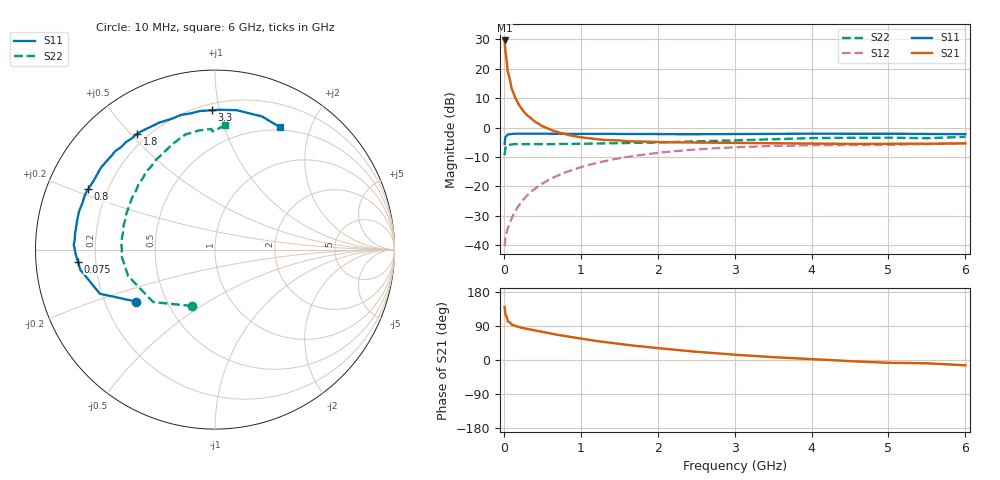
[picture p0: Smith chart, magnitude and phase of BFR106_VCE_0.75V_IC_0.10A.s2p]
! Infineon Technologies  Discrete & RF Semiconductors
! BFR106
! VCE = 0.75 V,  IC = 0.10 A
! Common Emitter S-Parameters:  Nov 2015
# GHz  S  MA  R  50
!  f  S11  S21  S12  S22
! GHz  MAG  ANG  MAG  ANG  MAG  ANG  MAG  ANG
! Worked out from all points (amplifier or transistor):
!   210 points, 10 MHz to 6 GHz, reference 50 ohm
!   highest |S21| = 29.6 dB at 10 MHz (marker M1)
!   |S21| within 3 dB of that: start of sweep to 18.54 MHz
!   unconditionally stable (mu >= 1): start of sweep to 19.02 MHz; 24.72 MHz to end of sweep
!   at 185 MHz: K = 1.62, MAG = 13.0 dB, |S12| = -26.9 dB
!   at 1.52 GHz: K = 1.28, MAG = -0.2 dB, |S12| = -10.4 dB
!   at 6 GHz: K = 1.04, MAG = -1.2 dB, |S12| = -5.4 dB
!   S11 on the Smith chart (normalised r, x): 10 MHz: 0.33, -0.27; 75 MHz: 0.13, -0.04; 800 MHz: 0.13, +0.22; 1.8 GHz: 0.16, +0.52; 3.3 GHz: 0.24, +0.95; 6 GHz: 0.46, +1.56
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0.01  0.5271 -146.7  30.23 139.8  0.0096 49.9  0.3391 -112.0
0.02  0.6867 -159.0  20.13 120.4  0.0137 43.7  0.4515 -139.6
0.035  0.7184 -165.6  14.45 114.8  0.0163 45.9  0.4686 -152.0
0.05  0.7586 -171.5  9.089 102.2  0.019 47.5  0.5056 -163.0
0.075  0.7667 -175.0  6.85 99.3  0.0235 53.8  0.509 -168.3
0.1  0.7776 -178.4  4.645 93.6  0.0281 58.1  0.5167 -173.5
0.15  0.7874 178.0  3.142 89.5  0.0379 64.5  0.5241 -177.0
0.2  0.7834 175.8  2.384 86.4  0.0484 67.5  0.5183 -179.8
0.24  0.7849 173.9  2.011 84.6  0.0568 68.7  0.521 178.4
0.3  0.7836 171.7  1.625 82.2  0.0696 70.1  0.5222 176.6
0.4  0.7853 167.9  1.268 78.0  0.0903 70.1  0.5224 173.9
0.5  0.7869 164.3  1.059 74.2  0.1112 69.5  0.522 171.2
0.6  0.7826 160.6  0.922 70.1  0.132 68.0  0.5212 169.1
0.8  0.7838 154.5  0.766 63.3  0.1726 64.6  0.5269 164.7
1.02  0.779 146.9  0.677 56.0  0.2154 60.4  0.5294 160.0
1.8  0.7783 123.9  0.578 35.7  0.3439 44.1  0.5485 143.6
2.02  0.7725 118.2  0.565 30.8  0.3725 39.5  0.5604 139.1
3.1  0.7762 94.5  0.546 12.7  0.4658 19.7  0.6093 118.5
3.3  0.7767 91.2  0.542 10.1  0.4754 16.6  0.6203 115.3
4.1  0.7849 79.9  0.534 1.3  0.5004 5.5  0.6626 103.2
5.1  0.784 69.6  0.529 -7.6  0.5113 -4.7  0.6697 91.6
6  0.7719 62.1  0.538 -14.0  0.5364 -12.5  0.6944 85.5
